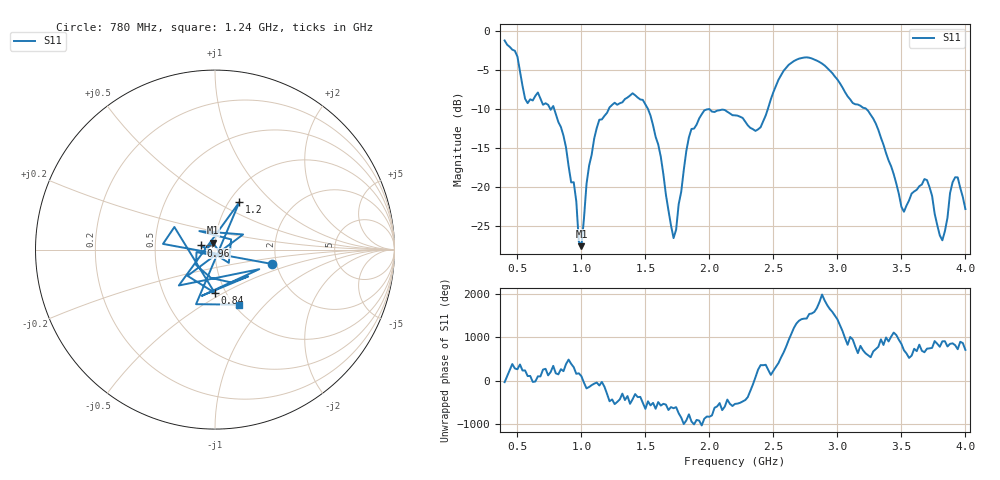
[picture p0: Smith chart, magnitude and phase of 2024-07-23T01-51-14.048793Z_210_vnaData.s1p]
!Created with skrf (http://scikit-rf.org).
# Hz S RI R 50.0
!freq ReS11 ImS11
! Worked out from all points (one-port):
!   181 points, 400 MHz to 4 GHz, reference 50 ohm
!   lowest |S11| = -27.6 dB at 1 GHz (marker M1), VSWR 1.09, Z = 48.6 + j3.84 ohm
!   |S11| at or under -10 dB: 786.3 MHz to 1.216 GHz (429.3 MHz wide, 42.9 % of centre); 1.518 GHz to 2.458 GHz (939.4 MHz wide, 47.2 % of centre); 3.222 GHz to end of sweep (the widest 3 of 4)
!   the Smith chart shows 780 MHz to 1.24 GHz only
!   S11 on the Smith chart (normalised r, x): 780 MHz: 1.89, -0.34; 840 MHz: 0.89, -0.45; 960 MHz: 0.86, +0.04; 1.2 GHz: 1.12, +0.65; 1.24 GHz: 1.05, -0.72
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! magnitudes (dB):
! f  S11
! 400 MHz  -1.3
! 580 MHz  -9.3
! 780 MHz  -9.7
! 840 MHz  -12.4
! 860 MHz  -13.5
! 960 MHz  -21.9
! 1 GHz  -27.6
! 1.04 GHz  -19.7
! 1.1 GHz  -13.8
! 1.2 GHz  -10.6
! 1.24 GHz  -9.5
! 1.3 GHz  -9.3
! 1.48 GHz  -8.9
! 1.6 GHz  -14.6
! 1.72 GHz  -26.6
! 1.76 GHz  -22.3
! 1.86 GHz  -12.6
! 2.2 GHz  -10.9
! 2.4 GHz  -12.4
! 2.66 GHz  -3.9
! 3.1 GHz  -8.8
! 3.28 GHz  -11.3
! 3.5 GHz  -22.6
! 3.56 GHz  -21.8
! 3.7 GHz  -19.2
! 3.82 GHz  -26.9
! 3.92 GHz  -18.8
! 4 GHz  -22.9
